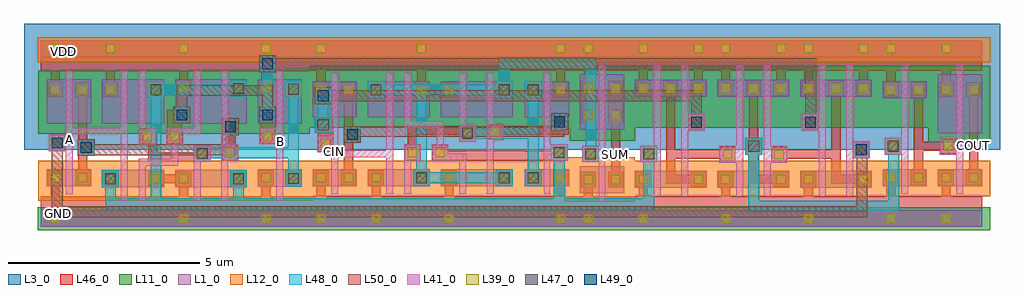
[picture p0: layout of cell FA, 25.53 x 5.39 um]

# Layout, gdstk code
import gdstk
lib = gdstk.Library(unit=1e-6, precision=1e-09)
def R(c, l, rs):  # rectangles x0, y0, x1, y1
    for r in rs: c.add(gdstk.rectangle(r[:2], r[2:], *l))
def A(c, l, x, y, w, h, nx, ny, dx, dy):  # array of equal rectangles
    R(c, l, [(x+i*dx, y+j*dy, x+i*dx+w, y+j*dy+h) for i in range(nx) for j in range(ny)])
L1_0 = (1, 0)
L3_0 = (3, 0)
L11_0 = (11, 0)
L12_0 = (12, 0)
L39_0 = (39, 0)
L41_0 = (41, 0)
L46_0 = (46, 0)
L47_0 = (47, 0)
L48_0 = (48, 0)
L49_0 = (49, 0)
L50_0 = (50, 0)

m1_m2_via_cdns_666782257 = lib.new_cell('M1_M2_via_CDNS_666782257310')
R(m1_m2_via_cdns_666782257, L46_0, [(-0.22,-0.22,0.22,0.22)])
R(m1_m2_via_cdns_666782257, L47_0, [(-0.14,-0.14,0.14,0.14)])
R(m1_m2_via_cdns_666782257, L48_0, [(-0.22,-0.22,0.22,0.22)])

m2_m3_via_cdns_666782257 = lib.new_cell('M2_M3_via_CDNS_666782257311')
R(m2_m3_via_cdns_666782257, L48_0, [(-0.14,-0.14,0.14,0.14)])
R(m2_m3_via_cdns_666782257, L49_0, [(-0.14,-0.14,0.14,0.14)])
R(m2_m3_via_cdns_666782257, L50_0, [(-0.14,-0.14,0.14,0.14)])

c_m2_m3_via_cdns_666782257 = lib.new_cell('M2_M3_via_CDNS_666782257312')
R(c_m2_m3_via_cdns_666782257, L48_0, [(-0.14,-0.14,0.14,0.14)])
R(c_m2_m3_via_cdns_666782257, L49_0, [(-0.14,-0.14,0.14,0.14)])
R(c_m2_m3_via_cdns_666782257, L50_0, [(-0.22,-0.14,0.22,0.14)])

c_m2_m3_via_cdns_666782257_ = lib.new_cell('M2_M3_via_CDNS_666782257313')
R(c_m2_m3_via_cdns_666782257_, L48_0, [(-0.14,-0.22,0.14,0.22)])
R(c_m2_m3_via_cdns_666782257_, L49_0, [(-0.14,-0.14,0.14,0.14)])
R(c_m2_m3_via_cdns_666782257_, L50_0, [(-0.14,-0.22,0.14,0.22)])

c_fa = lib.new_cell('FA')
A(c_fa, L1_0, 3.1, -9.88, 1.88, 0.44, 3, 2, 2.16, 2.38)
R(c_fa, L1_0, [(-12.44,-10.91,12.19,-10.47), (1.66,-10.03,2.82,-9.32), (-10.84,-9.87,-9.21,-9.41), (-8.93,-9.87,-7.05,-9.41), (-6.77,-9.86,-5.61,-9.4), (-12.28,-9.84,-11.12,-9.4), (-5.33,-9.84,-4.17,-9.4), (-3.89,-9.84,-2.26,-9.4), (-1.98,-9.84,-0.1,-9.4), (0.22,-9.84,1.38,-9.4), (9.58,-9.84,10.74,-9.4), (11.02,-9.84,12.18,-9.4), (11.02,-8.46,12.18,-6.91), (1.66,-8.37,2.82,-6.91), (-12.28,-8.21,-11.12,-7.04), (-10.84,-8.21,-9.21,-7.04), (-8.93,-8.21,-7.05,-7.04), (-6.77,-8.21,-5.61,-7.04), (-5.33,-8.04,-4.17,-7.1), (-3.89,-8.04,-2.26,-7.1), (-1.98,-8.04,-0.1,-7.1), (0.22,-8.04,1.38,-7.1), (9.58,-7.54,10.74,-7.1), (-12.44,-6.47,12.19,-6.03)])
R(c_fa, L3_0, [(-12.88,-8.89,12.65,-5.6)])
R(c_fa, L11_0, [(-12.52,-10.99,12.4,-10.39), (10.77,-8.69,12.4,-8.2), (1.39,-8.66,3.11,-6.69), (-12.51,-8.47,-5.4,-6.82), (-5.4,-8.32,12.4,-6.69)])
R(c_fa, L12_0, [(1.27,-10.25,3.1,-9.08), (-12.51,-10.23,-5.32,-9.18), (-5.32,-10.11,12.4,-9.18), (-12.52,-6.6,12.4,-5.95)])
A(c_fa, L39_0, -6.67, -10.81, 0.24, 0.24, 3, 1, 1.44, 0)
A(c_fa, L39_0, 3.2, -10.81, 0.24, 0.24, 4, 1, 2.16, 0)
A(c_fa, L39_0, -5.23, -9.74, 0.24, 0.24, 3, 1, 0.72, 0)
A(c_fa, L39_0, 9.68, -9.74, 0.24, 0.24, 4, 2, 0.72, 2.3)
A(c_fa, L39_0, -12.18, -7.44, 0.24, 0.24, 3, 1, 0.72, 0)
A(c_fa, L39_0, -5.95, -7.44, 0.24, 0.24, 4, 1, 0.72, 0)
A(c_fa, L39_0, 3.2, -7.4, 0.24, 0.24, 9, 1, 0.72, 0)
A(c_fa, L39_0, 1.76, -6.37, 0.24, 0.24, 3, 1, 1.44, 0)
R(c_fa, L39_0, [(-12.18,-10.81,-11.94,-10.57), (-8.83,-10.81,-8.59,-10.57), (-1.88,-10.81,-1.64,-10.57), (1.04,-10.81,1.28,-10.57), (1.76,-10.81,2,-10.57), (11.12,-10.81,11.36,-10.57), (1.76,-9.79,2,-9.55), (2.48,-9.79,2.72,-9.55), (3.2,-9.78,3.44,-9.54), (4.64,-9.78,4.88,-9.54), (5.36,-9.78,5.6,-9.54), (6.8,-9.78,7.04,-9.54), (7.52,-9.78,7.76,-9.54), (8.96,-9.78,9.2,-9.54), (-10.74,-9.77,-10.5,-9.53), (-9.55,-9.77,-9.31,-9.53), (-8.83,-9.77,-8.59,-9.53), (-7.39,-9.77,-7.15,-9.53), (-5.95,-9.76,-5.71,-9.52), (-12.18,-9.74,-11.94,-9.5), (-11.46,-9.74,-11.22,-9.5), (-6.67,-9.74,-6.43,-9.5), (-2.6,-9.74,-2.36,-9.5), (-1.88,-9.74,-1.64,-9.5), (-0.44,-9.74,-0.2,-9.5), (0.32,-9.74,0.56,-9.5), (1.04,-9.74,1.28,-9.5), (5.41,-9.13,5.65,-8.89), (6.75,-9.13,6.99,-8.89), (1.82,-9.12,2.06,-8.88), (3.34,-9.12,3.58,-8.88), (-8.34,-9.11,-8.1,-8.87), (-7.62,-9.08,-7.38,-8.84), (-2.84,-9.08,-2.6,-8.84), (-2.12,-9.08,-1.88,-8.84), (0.99,-9.08,1.23,-8.84), (8.9,-9.01,9.14,-8.77), (9.74,-8.92,9.98,-8.68), (11.18,-8.92,11.42,-8.68), (-5.11,-8.86,-4.87,-8.62), (-12.13,-8.83,-11.89,-8.59), (-9.78,-8.65,-9.54,-8.41), (-9.06,-8.65,-8.82,-8.41), (-6.62,-8.65,-6.38,-8.41), (-1.4,-8.58,-1.16,-8.34), (-0.67,-8.54,-0.43,-8.3), (4.59,-8.29,4.83,-8.05), (7.57,-8.29,7.81,-8.05), (1.76,-8.11,2,-7.87), (2.48,-8.11,2.72,-7.87), (-9.55,-7.44,-9.31,-7.2), (-2.6,-7.44,-2.36,-7.2), (-1.88,-7.44,-1.64,-7.2), (-0.44,-7.44,-0.2,-7.2), (0.32,-7.44,0.56,-7.2), (1.04,-7.44,1.28,-7.2), (-7.39,-7.41,-7.15,-7.17), (1.76,-7.41,2,-7.17), (2.48,-7.41,2.72,-7.17), (-8.83,-7.39,-8.59,-7.15), (-6.67,-7.39,-6.43,-7.15), (-12.18,-6.37,-11.94,-6.13), (-10.74,-6.37,-10.5,-6.13), (-8.82,-6.37,-8.58,-6.13), (-6.67,-6.37,-6.43,-6.13), (-5.23,-6.37,-4.99,-6.13), (-2.6,-6.37,-2.36,-6.13), (1.04,-6.37,1.28,-6.13), (5.36,-6.37,5.6,-6.13), (6.8,-6.37,7.04,-6.13), (7.52,-6.37,7.76,-6.13), (8.96,-6.37,9.2,-6.13), (9.68,-6.37,9.92,-6.13), (11.12,-6.37,11.36,-6.13)])
R(c_fa, L41_0, [(5.31,-9.23,5.75,-8.79), (6.65,-9.23,7.09,-8.79), (1.72,-9.22,2.16,-8.78), (3.24,-9.22,3.68,-8.78), (-8.44,-9.21,-8,-8.77), (-7.72,-9.18,-7.28,-8.74), (-2.94,-9.18,-2.5,-8.74), (-2.22,-9.18,-1.78,-8.74), (0.89,-9.18,1.34,-8.74), (8.8,-9.11,9.24,-8.67), (8.8,-9.11,9.24,-8.67), (9.64,-9.02,10.08,-8.58), (11.08,-9.02,11.52,-8.58), (-5.21,-8.96,-4.77,-8.52), (-12.23,-8.93,-11.79,-8.49), (-9.88,-8.75,-9.44,-8.31), (-9.16,-8.75,-8.72,-8.31), (-6.72,-8.75,-6.28,-8.31), (-1.5,-8.68,-1.06,-8.24), (-0.77,-8.64,-0.33,-8.2), (4.49,-8.39,4.93,-7.95), (7.47,-8.39,7.91,-7.95), (7.47,-8.39,7.91,-7.95)])
A(c_fa, L46_0, -5.31, -9.82, 0.4, 0.4, 3, 1, 0.72, 0)
A(c_fa, L46_0, 9.6, -9.82, 0.4, 0.4, 4, 2, 0.72, 2.3)
A(c_fa, L46_0, -12.26, -7.52, 0.4, 0.4, 3, 1, 0.72, 0)
A(c_fa, L46_0, -6.03, -7.52, 0.4, 0.4, 3, 1, 0.72, 0)
A(c_fa, L46_0, 3.12, -7.48, 0.4, 0.41, 9, 1, 0.72, 0)
R(c_fa, L46_0, [(-12.44,-10.91,12.19,-10.11), (1.68,-9.87,2.08,-9.47), (2.4,-9.87,2.8,-9.47), (3.12,-9.86,3.52,-9.46), (4.56,-9.86,4.96,-9.46), (5.28,-9.86,5.68,-9.46), (6.72,-9.86,7.12,-9.46), (7.44,-9.86,7.84,-9.46), (8.88,-9.86,9.28,-9.46), (-10.82,-9.85,-10.42,-9.45), (-9.63,-9.85,-9.23,-9.45), (-8.91,-9.85,-8.51,-9.45), (-6.03,-9.84,-5.63,-9.44), (-12.26,-9.82,-11.86,-9.42), (-11.54,-9.82,-11.14,-9.42), (-6.75,-9.82,-6.35,-9.42), (-1.96,-9.82,-1.56,-9.42), (0.96,-9.82,1.36,-9.42), (5.33,-9.21,5.73,-8.81), (6.67,-9.21,7.07,-8.81), (3.26,-9.2,3.66,-8.8), (-8.42,-9.19,-8.02,-8.79), (-7.7,-9.16,-7.3,-8.76), (-2.92,-9.16,-2.52,-8.76), (-2.2,-9.16,-1.8,-8.76), (0.91,-9.16,1.31,-8.76), (9.66,-9,10.06,-8.6), (11.1,-9,11.5,-8.6), (-5.19,-8.94,-4.79,-8.02), (-12.21,-8.91,-11.81,-8.51), (-9.86,-8.73,-9.46,-8.33), (-9.14,-8.73,-8.74,-7.84), (-6.7,-8.73,-6.3,-8.2), (-1.48,-8.66,-1.08,-8.26), (-0.75,-8.62,-0.35,-8.22), (1.68,-8.19,2.08,-7.09), (2.4,-8.19,2.8,-7.09), (-2.68,-7.52,-2.28,-7.12), (-1.96,-7.52,-1.56,-7.12), (-0.52,-7.52,-0.12,-7.12), (0.96,-7.52,1.36,-7.12), (-7.47,-7.49,-7.07,-7.09), (-8.91,-7.47,-8.51,-7.07), (-6.75,-7.47,-6.35,-7.07), (-12.44,-6.83,12.19,-6.03)])
R(c_fa, L48_0, [(-4.51,-8.71,-4.07,-8.27), (-5.27,-7.7,-4.83,-7.26), (-5.27,-7.7,-4.83,-7.26), (-5.27,-7.7,-4.83,-7.26), (-5.27,-7.7,-4.83,-7.26), (-5.27,-7.7,-4.83,-7.26), (-5.27,-7.7,-4.83,-7.26), (-5.27,-7.7,-4.83,-7.26), (-5.27,-7.7,-4.83,-7.26), (-5.27,-7.7,-4.83,-7.26), (-5.27,-7.7,-4.83,-7.26), (-5.27,-7.7,-4.83,-7.26), (-5.27,-7.7,-4.83,-7.26), (-5.27,-7.7,-4.83,-7.26), (-6.73,-6.86,-6.29,-6.42)])
R(c_fa, L50_0, [(8.8,-9.11,9.24,-8.67), (-11.47,-9.05,-11.03,-8.61), (-12.23,-8.93,-11.79,-8.49), (-7.7,-8.75,-7.46,-8.31), (-4.51,-8.71,-4.07,-8.27), (-7.7,-8.51,-7.26,-8.07), (4.49,-8.39,4.93,-7.95), (7.47,-8.39,7.91,-7.95), (0.91,-8.38,1.35,-7.94), (-8.97,-8.2,-8.53,-7.76), (-6.73,-8.2,-6.29,-7.76), (-5.27,-7.7,-4.83,-7.26), (-6.73,-6.86,-6.29,-6.42)])
c_fa.add(gdstk.FlexPath([(11.6,-6.68),(11.6,-8.8)], 0.18, ends=(0, 0.09), simple_path=True, layer=41, datatype=0))  # L41_0
c_fa.add(gdstk.FlexPath([(0.8,-6.88),(0.8,-8.96)], 0.18, ends=(0, 0.09), simple_path=True, layer=41, datatype=0))  # L41_0
c_fa.add(gdstk.FlexPath([(-3.31,-6.88),(-3.31,-10.06)], 0.18, ends="flush", simple_path=True, layer=41, datatype=0))  # L41_0
c_fa.add(gdstk.FlexPath([(-2.84,-6.88),(-2.84,-8.23)], 0.18, ends=(0, 0.09), simple_path=True, layer=41, datatype=0))  # L41_0
c_fa.add(gdstk.FlexPath([(-2.84,-10.06),(-2.84,-9.16)], 0.18, ends="flush", simple_path=True, layer=41, datatype=0))  # L41_0
c_fa.add(gdstk.FlexPath([(-1.99,-8.23),(-1.99,-8.74)], 0.18, ends=(0.09, 0), simple_path=True, layer=41, datatype=0))  # L41_0
c_fa.add(gdstk.FlexPath([(-2.84,-8.23),(-1.99,-8.23)], 0.18, ends="extended", simple_path=True, layer=41, datatype=0))  # L41_0
c_fa.add(gdstk.FlexPath([(-1.78,-9.09),(-1.4,-9.09)], 0.18, ends=(0, 0.09), simple_path=True, layer=41, datatype=0))  # L41_0
c_fa.add(gdstk.FlexPath([(-4.75,-6.88),(-4.75,-8.94)], 0.18, ends=(0, 0.09), simple_path=True, layer=41, datatype=0))  # L41_0
c_fa.add(gdstk.FlexPath([(-1.4,-6.88),(-1.4,-8.24)], 0.18, ends="flush", simple_path=True, layer=41, datatype=0))  # L41_0
c_fa.add(gdstk.FlexPath([(-1.4,-9.09),(-1.4,-10.06)], 0.18, ends=(0.09, 0), simple_path=True, layer=41, datatype=0))  # L41_0
c_fa.add(gdstk.FlexPath([(-8.35,-9.21),(-8.35,-10.22)], 0.18, ends="flush", simple_path=True, layer=41, datatype=0))  # L41_0
c_fa.add(gdstk.FlexPath([(0.8,-8.96),(0.8,-10.06)], 0.18, ends=(0.09, 0), simple_path=True, layer=41, datatype=0))  # L41_0
c_fa.add(gdstk.FlexPath([(-11.7,-8.71),(-11.7,-10.06)], 0.18, ends=(0.09, 0), simple_path=True, layer=41, datatype=0))  # L41_0
c_fa.add(gdstk.FlexPath([(6.65,-9.01),(6.56,-9.01)], 0.18, ends="extended", simple_path=True, layer=41, datatype=0))  # L41_0
c_fa.add(gdstk.FlexPath([(-4.75,-8.99),(-3.4,-8.99)], 0.18, ends=(0.09, 0), simple_path=True, layer=41, datatype=0))  # L41_0
c_fa.add(gdstk.FlexPath([(-4.75,-8.94),(-4.75,-10.06)], 0.18, ends=(0.09, 0), simple_path=True, layer=41, datatype=0))  # L41_0
c_fa.add(gdstk.FlexPath([(8.8,-8.89),(8.72,-8.89)], 0.18, ends="extended", simple_path=True, layer=41, datatype=0))  # L41_0
c_fa.add(gdstk.FlexPath([(10.16,-8.8),(10.16,-10.06)], 0.18, ends=(0.09, 0), simple_path=True, layer=41, datatype=0))  # L41_0
c_fa.add(gdstk.FlexPath([(11.52,-8.8),(11.6,-8.8)], 0.18, ends="extended", simple_path=True, layer=41, datatype=0))  # L41_0
c_fa.add(gdstk.FlexPath([(4.49,-8.17),(4.4,-8.17)], 0.18, ends="extended", simple_path=True, layer=41, datatype=0))  # L41_0
c_fa.add(gdstk.FlexPath([(11.6,-8.8),(11.6,-10.06)], 0.18, ends=(0.09, 0), simple_path=True, layer=41, datatype=0))  # L41_0
c_fa.add(gdstk.FlexPath([(2.24,-9.01),(2.24,-10.25)], 0.18, ends=(0.09, 0), simple_path=True, layer=41, datatype=0))  # L41_0
c_fa.add(gdstk.FlexPath([(4.4,-8.17),(4.4,-10.1)], 0.18, ends=(0.09, 0), simple_path=True, layer=41, datatype=0))  # L41_0
c_fa.add(gdstk.FlexPath([(6.56,-9.01),(6.56,-10.1)], 0.18, ends=(0.09, 0), simple_path=True, layer=41, datatype=0))  # L41_0
c_fa.add(gdstk.FlexPath([(2.16,-9.01),(2.24,-9.01)], 0.18, ends="extended", simple_path=True, layer=41, datatype=0))  # L41_0
c_fa.add(gdstk.FlexPath([(8,-8.17),(8,-10.1)], 0.18, ends=(0.09, 0), simple_path=True, layer=41, datatype=0))  # L41_0
c_fa.add(gdstk.FlexPath([(8.72,-6.69),(8.72,-8.89)], 0.18, ends=(0, 0.09), simple_path=True, layer=41, datatype=0))  # L41_0
c_fa.add(gdstk.FlexPath([(8,-6.69),(8,-8.17)], 0.18, ends=(0, 0.09), simple_path=True, layer=41, datatype=0))  # L41_0
c_fa.add(gdstk.FlexPath([(5.84,-6.69),(5.84,-9.01)], 0.18, ends=(0, 0.09), simple_path=True, layer=41, datatype=0))  # L41_0
c_fa.add(gdstk.FlexPath([(6.56,-6.69),(6.56,-9.01)], 0.18, ends=(0, 0.09), simple_path=True, layer=41, datatype=0))  # L41_0
c_fa.add(gdstk.FlexPath([(8,-8.17),(7.91,-8.17)], 0.18, ends="extended", simple_path=True, layer=41, datatype=0))  # L41_0
c_fa.add(gdstk.FlexPath([(8.72,-8.89),(8.72,-10.1)], 0.18, ends=(0.09, 0), simple_path=True, layer=41, datatype=0))  # L41_0
c_fa.add(gdstk.FlexPath([(-6.19,-8.42),(-6.36,-8.42)], 0.18, ends=(0.09, 0), simple_path=True, layer=41, datatype=0))  # L41_0
c_fa.add(gdstk.FlexPath([(-11.7,-8.71),(-11.79,-8.71)], 0.18, ends=(0.09, 0), simple_path=True, layer=41, datatype=0))  # L41_0
c_fa.add(gdstk.FlexPath([(5.84,-9.01),(5.84,-10.1)], 0.18, ends=(0.09, 0), simple_path=True, layer=41, datatype=0))  # L41_0
c_fa.add(gdstk.FlexPath([(5.75,-9.01),(5.84,-9.01)], 0.18, ends="extended", simple_path=True, layer=41, datatype=0))  # L41_0
c_fa.add(gdstk.FlexPath([(-11.7,-8.4),(-10.35,-8.4)], 0.18, ends="flush", simple_path=True, layer=41, datatype=0))  # L41_0
c_fa.add(gdstk.FlexPath([(-0.68,-6.88),(-0.68,-10.06)], 0.18, ends="flush", simple_path=True, layer=41, datatype=0))  # L41_0
c_fa.add(gdstk.FlexPath([(4.4,-6.69),(4.4,-8.17)], 0.18, ends=(0, 0.09), simple_path=True, layer=41, datatype=0))  # L41_0
c_fa.add(gdstk.FlexPath([(3.68,-6.69),(3.68,-10.1)], 0.18, ends="flush", simple_path=True, layer=41, datatype=0))  # L41_0
c_fa.add(gdstk.FlexPath([(-6.19,-8.42),(-6.19,-10.23)], 0.18, ends=(0.09, 0), simple_path=True, layer=41, datatype=0))  # L41_0
c_fa.add(gdstk.FlexPath([(-9.88,-9.22),(-9.03,-9.22)], 0.18, ends="flush", simple_path=True, layer=41, datatype=0))  # L41_0
c_fa.add(gdstk.FlexPath([(-8.94,-8.31),(-8.94,-9.31)], 0.18, ends="flush", simple_path=True, layer=41, datatype=0))  # L41_0
c_fa.add(gdstk.FlexPath([(-9.79,-10.22),(-9.79,-9.19)], 0.18, ends="flush", simple_path=True, layer=41, datatype=0))  # L41_0
c_fa.add(gdstk.FlexPath([(-9.79,-6.82),(-9.79,-8.31)], 0.18, ends="flush", simple_path=True, layer=41, datatype=0))  # L41_0
c_fa.add(gdstk.FlexPath([(-10.26,-6.82),(-10.26,-10.22)], 0.18, ends="flush", simple_path=True, layer=41, datatype=0))  # L41_0
c_fa.add(gdstk.FlexPath([(-11.7,-6.82),(-11.7,-8.4)], 0.18, ends="flush", simple_path=True, layer=41, datatype=0))  # L41_0
c_fa.add(gdstk.FlexPath([(10.08,-8.8),(10.16,-8.8)], 0.18, ends="extended", simple_path=True, layer=41, datatype=0))  # L41_0
c_fa.add(gdstk.FlexPath([(10.16,-6.68),(10.16,-8.8)], 0.18, ends=(0, 0.09), simple_path=True, layer=41, datatype=0))  # L41_0
c_fa.add(gdstk.FlexPath([(2.24,-6.69),(2.24,-9.01)], 0.18, ends=(0, 0.09), simple_path=True, layer=41, datatype=0))  # L41_0
c_fa.add(gdstk.FlexPath([(-4.75,-8.94),(-4.84,-8.94)], 0.18, ends=(0.09, 0), simple_path=True, layer=41, datatype=0))  # L41_0
c_fa.add(gdstk.FlexPath([(0.8,-8.96),(0.89,-8.96)], 0.18, ends=(0.09, 0), simple_path=True, layer=41, datatype=0))  # L41_0
c_fa.add(gdstk.FlexPath([(-8.35,-6.82),(-8.35,-8.4)], 0.18, ends=(0, 0.09), simple_path=True, layer=41, datatype=0))  # L41_0
c_fa.add(gdstk.FlexPath([(-8.35,-8.4),(-8.85,-8.4)], 0.18, ends=(0.09, 0), simple_path=True, layer=41, datatype=0))  # L41_0
c_fa.add(gdstk.FlexPath([(-6.19,-6.82),(-6.19,-8.42)], 0.18, ends=(0, 0.09), simple_path=True, layer=41, datatype=0))  # L41_0
c_fa.add(gdstk.FlexPath([(-7.63,-6.82),(-7.63,-10.22)], 0.18, ends="flush", simple_path=True, layer=41, datatype=0))  # L41_0
c_fa.add(gdstk.FlexPath([(-11.7,-8.4),(-11.7,-8.71)], 0.18, ends=(0, 0.09), simple_path=True, layer=41, datatype=0))  # L41_0
c_fa.add(gdstk.FlexPath([(10.52,-8.8),(10.52,-9.74)], 0.24, ends=(0.12, 0), simple_path=True, layer=46, datatype=0))  # L46_0
c_fa.add(gdstk.FlexPath([(10.52,-8.8),(10.4,-8.8)], 0.24, ends=(0.12, 0), simple_path=True, layer=46, datatype=0))  # L46_0
c_fa.add(gdstk.FlexPath([(11.42,-8.8),(10.52,-8.8)], 0.24, ends=(0, 0.12), simple_path=True, layer=46, datatype=0))  # L46_0
c_fa.add(gdstk.FlexPath([(11.96,-7.2),(11.96,-9.74)], 0.24, ends="flush", simple_path=True, layer=46, datatype=0))  # L46_0
c_fa.add(gdstk.FlexPath([(11.24,-9.5),(11.24,-10.81)], 0.24, ends="flush", simple_path=True, layer=46, datatype=0))  # L46_0
c_fa.add(gdstk.FlexPath([(11.24,-7.44),(11.24,-6.13)], 0.24, ends="flush", simple_path=True, layer=46, datatype=0))  # L46_0
c_fa.add(gdstk.FlexPath([(-6.55,-7.44),(-6.55,-6.13)], 0.24, ends="flush", simple_path=True, layer=46, datatype=0))  # L46_0
c_fa.add(gdstk.FlexPath([(1.16,-9.5),(1.16,-10.81)], 0.24, ends="flush", simple_path=True, layer=46, datatype=0))  # L46_0
c_fa.add(gdstk.FlexPath([(-5.11,-9.5),(-5.11,-10.81)], 0.24, ends="flush", simple_path=True, layer=46, datatype=0))  # L46_0
c_fa.add(gdstk.FlexPath([(-5.11,-7.44),(-5.11,-6.13)], 0.24, ends="flush", simple_path=True, layer=46, datatype=0))  # L46_0
c_fa.add(gdstk.FlexPath([(-12.06,-9.5),(-12.06,-10.81)], 0.24, ends="flush", simple_path=True, layer=46, datatype=0))  # L46_0
c_fa.add(gdstk.FlexPath([(-8.3,-8.87),(-8.3,-9.04)], 0.24, ends=(0, 0.12), simple_path=True, layer=46, datatype=0))  # L46_0
c_fa.add(gdstk.FlexPath([(-12.06,-7.44),(-12.06,-6.13)], 0.24, ends="flush", simple_path=True, layer=46, datatype=0))  # L46_0
c_fa.add(gdstk.FlexPath([(-8.71,-9.53),(-8.71,-10.81)], 0.24, ends="flush", simple_path=True, layer=46, datatype=0))  # L46_0
c_fa.add(gdstk.FlexPath([(-7.5,-8.93),(-7.5,-8.45)], 0.24, ends="flush", simple_path=True, layer=46, datatype=0))  # L46_0
c_fa.add(gdstk.FlexPath([(-1.76,-9.5),(-1.76,-10.81)], 0.24, ends="flush", simple_path=True, layer=46, datatype=0))  # L46_0
c_fa.add(gdstk.FlexPath([(9.8,-9.5),(9.8,-10.81)], 0.24, ends="flush", simple_path=True, layer=46, datatype=0))  # L46_0
c_fa.add(gdstk.FlexPath([(9.8,-7.44),(9.8,-6.13)], 0.24, ends="flush", simple_path=True, layer=46, datatype=0))  # L46_0
c_fa.add(gdstk.FlexPath([(-0.67,-8.38),(1.25,-8.38)], 0.24, ends=(0, 0.12), simple_path=True, layer=46, datatype=0))  # L46_0
c_fa.add(gdstk.FlexPath([(-2.48,-7.32),(-2.48,-6.13)], 0.24, ends=(0.12, 0), simple_path=True, layer=46, datatype=0))  # L46_0
c_fa.add(gdstk.FlexPath([(9.08,-7.4),(9.08,-6.13)], 0.24, ends="flush", simple_path=True, layer=46, datatype=0))  # L46_0
c_fa.add(gdstk.FlexPath([(8.36,-9.66),(9.2,-9.66)], 0.24, ends=(0.12, 0), simple_path=True, layer=46, datatype=0))  # L46_0
c_fa.add(gdstk.FlexPath([(8.36,-9.01),(8.36,-9.66)], 0.24, ends="extended", simple_path=True, layer=46, datatype=0))  # L46_0
c_fa.add(gdstk.FlexPath([(-10.62,-7.44),(-10.62,-6.13)], 0.24, ends="flush", simple_path=True, layer=46, datatype=0))  # L46_0
c_fa.add(gdstk.FlexPath([(8.36,-7.16),(8.36,-9.01)], 0.24, ends=(0, 0.12), simple_path=True, layer=46, datatype=0))  # L46_0
c_fa.add(gdstk.FlexPath([(7.64,-9.54),(7.64,-10.81)], 0.24, ends="flush", simple_path=True, layer=46, datatype=0))  # L46_0
c_fa.add(gdstk.FlexPath([(7.64,-7.4),(7.64,-6.13)], 0.24, ends="flush", simple_path=True, layer=46, datatype=0))  # L46_0
c_fa.add(gdstk.FlexPath([(6.92,-7.4),(6.92,-6.13)], 0.24, ends="flush", simple_path=True, layer=46, datatype=0))  # L46_0
c_fa.add(gdstk.FlexPath([(5.48,-9.54),(5.48,-10.63)], 0.24, ends="flush", simple_path=True, layer=46, datatype=0))  # L46_0
c_fa.add(gdstk.FlexPath([(6.2,-9.66),(7.04,-9.66)], 0.24, ends=(0.12, 0), simple_path=True, layer=46, datatype=0))  # L46_0
c_fa.add(gdstk.FlexPath([(6.2,-7.16),(6.2,-9.66)], 0.24, ends=(0, 0.12), simple_path=True, layer=46, datatype=0))  # L46_0
c_fa.add(gdstk.FlexPath([(5.48,-7.4),(5.48,-6.13)], 0.24, ends="flush", simple_path=True, layer=46, datatype=0))  # L46_0
c_fa.add(gdstk.FlexPath([(-1.64,-7.32),(-2.48,-7.32)], 0.24, ends=(0, 0.12), simple_path=True, layer=46, datatype=0))  # L46_0
c_fa.add(gdstk.FlexPath([(-2.48,-7.32),(-2.68,-7.32)], 0.24, ends=(0.12, 0), simple_path=True, layer=46, datatype=0))  # L46_0
c_fa.add(gdstk.FlexPath([(-1.5,-8.38),(-1.5,-8.36)], 0.24, ends=(0.12, 0), simple_path=True, layer=46, datatype=0))  # L46_0
c_fa.add(gdstk.FlexPath([(-2.48,-7.44),(-2.48,-7.32)], 0.24, ends=(0, 0.12), simple_path=True, layer=46, datatype=0))  # L46_0
c_fa.add(gdstk.FlexPath([(-3.67,-9.5),(-3.67,-10.81)], 0.24, ends="flush", simple_path=True, layer=46, datatype=0))  # L46_0
c_fa.add(gdstk.FlexPath([(-1.48,-8.38),(-1.5,-8.38)], 0.24, ends="extended", simple_path=True, layer=46, datatype=0))  # L46_0
c_fa.add(gdstk.FlexPath([(-9.51,-9.09),(-8.3,-9.09)], 0.24, ends="extended", simple_path=True, layer=46, datatype=0))  # L46_0
c_fa.add(gdstk.FlexPath([(-11.34,-7.2),(-11.34,-9.74)], 0.24, ends="flush", simple_path=True, layer=46, datatype=0))  # L46_0
c_fa.add(gdstk.FlexPath([(-8.7,-7.44),(-8.7,-6.13)], 0.24, ends="flush", simple_path=True, layer=46, datatype=0))  # L46_0
c_fa.add(gdstk.FlexPath([(-9.55,-9.65),(-8.59,-9.65)], 0.24, ends="flush", simple_path=True, layer=46, datatype=0))  # L46_0
c_fa.add(gdstk.FlexPath([(5.65,-9.01),(4.04,-9.01)], 0.24, ends=(0, 0.12), simple_path=True, layer=46, datatype=0))  # L46_0
c_fa.add(gdstk.FlexPath([(4.04,-9.01),(3.92,-9.01)], 0.24, ends=(0.12, 0), simple_path=True, layer=46, datatype=0))  # L46_0
c_fa.add(gdstk.FlexPath([(4.04,-9.66),(4.88,-9.66)], 0.24, ends=(0.12, 0), simple_path=True, layer=46, datatype=0))  # L46_0
c_fa.add(gdstk.FlexPath([(4.04,-9.01),(4.04,-9.66)], 0.24, ends="extended", simple_path=True, layer=46, datatype=0))  # L46_0
c_fa.add(gdstk.FlexPath([(4.04,-7.16),(4.04,-9.01)], 0.24, ends=(0, 0.12), simple_path=True, layer=46, datatype=0))  # L46_0
c_fa.add(gdstk.FlexPath([(3.32,-7.4),(3.32,-6.13)], 0.24, ends="flush", simple_path=True, layer=46, datatype=0))  # L46_0
c_fa.add(gdstk.FlexPath([(1.25,-8.38),(1.25,-8.1)], 0.24, ends=(0.12, 0), simple_path=True, layer=46, datatype=0))  # L46_0
c_fa.add(gdstk.FlexPath([(3.32,-9.54),(3.32,-10.63)], 0.24, ends="flush", simple_path=True, layer=46, datatype=0))  # L46_0
c_fa.add(gdstk.FlexPath([(6.76,-9.01),(8.36,-9.01)], 0.24, ends=(0, 0.12), simple_path=True, layer=46, datatype=0))  # L46_0
c_fa.add(gdstk.FlexPath([(8.36,-9.01),(8.48,-9.01)], 0.24, ends=(0.12, 0), simple_path=True, layer=46, datatype=0))  # L46_0
c_fa.add(gdstk.FlexPath([(-9.51,-8.33),(-9.51,-9.09)], 0.24, ends=(0, 0.12), simple_path=True, layer=46, datatype=0))  # L46_0
c_fa.add(gdstk.FlexPath([(10.52,-7.2),(10.52,-8.8)], 0.24, ends=(0, 0.12), simple_path=True, layer=46, datatype=0))  # L46_0
c_fa.add(gdstk.FlexPath([(4.76,-7.4),(4.76,-6.13)], 0.24, ends="flush", simple_path=True, layer=46, datatype=0))  # L46_0
c_fa.add(gdstk.FlexPath([(-4.39,-7.2),(-4.39,-9.74)], 0.24, ends="flush", simple_path=True, layer=46, datatype=0))  # L46_0
c_fa.add(gdstk.FlexPath([(1.88,-7.41),(1.88,-6.13)], 0.24, ends="flush", simple_path=True, layer=46, datatype=0))  # L46_0
c_fa.add(gdstk.FlexPath([(1.88,-9.55),(1.88,-10.81)], 0.24, ends="flush", simple_path=True, layer=46, datatype=0))  # L46_0
c_fa.add(gdstk.FlexPath([(2.6,-7.87),(2.6,-9.79)], 0.24, ends="flush", simple_path=True, layer=46, datatype=0))  # L46_0
c_fa.add(gdstk.FlexPath([(-6.55,-9.5),(-6.55,-10.81)], 0.24, ends="flush", simple_path=True, layer=46, datatype=0))  # L46_0
c_fa.add(gdstk.FlexPath([(-2.72,-9.08),(-2.72,-8.38)], 0.24, ends=(0, 0.12), simple_path=True, layer=46, datatype=0))  # L46_0
c_fa.add(gdstk.FlexPath([(1.16,-7.44),(1.16,-6.13)], 0.24, ends="flush", simple_path=True, layer=46, datatype=0))  # L46_0
c_fa.add(gdstk.FlexPath([(-2.72,-8.38),(-1.5,-8.38)], 0.24, ends="extended", simple_path=True, layer=46, datatype=0))  # L46_0
c_fa.add(gdstk.FlexPath([(-2.12,-9.04),(1.24,-9.04)], 0.24, ends="flush", simple_path=True, layer=46, datatype=0))  # L46_0
c_fa.add(gdstk.FlexPath([(0.44,-9.62),(0.44,-9.76)], 0.28, ends="flush", simple_path=True, layer=48, datatype=0))  # L48_0
c_fa.add(gdstk.FlexPath([(0.44,-7.32),(0.44,-9.62)], 0.28, ends="flush", simple_path=True, layer=48, datatype=0))  # L48_0
c_fa.add(gdstk.FlexPath([(6.21,-10.36),(9.87,-10.36)], 0.28, ends="extended", simple_path=True, layer=48, datatype=0))  # L48_0
c_fa.add(gdstk.FlexPath([(1.95,-6.63),(1.95,-9.14)], 0.28, ends=(0.14, 0), simple_path=True, layer=48, datatype=0))  # L48_0
c_fa.add(gdstk.FlexPath([(-8.23,-8.97),(-5.83,-8.97)], 0.28, ends=(0, 0.14), simple_path=True, layer=48, datatype=0))  # L48_0
c_fa.add(gdstk.FlexPath([(9.87,-10.36),(9.87,-8.66)], 0.28, ends=(0.14, 0), simple_path=True, layer=48, datatype=0))  # L48_0
c_fa.add(gdstk.FlexPath([(6.21,-8.8),(6.21,-10.36)], 0.28, ends=(0, 0.14), simple_path=True, layer=48, datatype=0))  # L48_0
c_fa.add(gdstk.FlexPath([(1.12,-10.3),(-7.27,-10.3)], 0.28, ends="extended", simple_path=True, layer=48, datatype=0))  # L48_0
c_fa.add(gdstk.FlexPath([(-5.83,-8.97),(-5.83,-9.75)], 0.28, ends=(0.14, 0), simple_path=True, layer=48, datatype=0))  # L48_0
c_fa.add(gdstk.FlexPath([(3.46,-9),(3.46,-10.3)], 0.28, ends=(0, 0.14), simple_path=True, layer=48, datatype=0))  # L48_0
c_fa.add(gdstk.FlexPath([(3.46,-10.3),(1.26,-10.3)], 0.28, ends=(0.14, 0), simple_path=True, layer=48, datatype=0))  # L48_0
c_fa.add(gdstk.FlexPath([(-6.51,-8),(-6.51,-6.64)], 0.28, ends="flush", simple_path=True, layer=48, datatype=0))  # L48_0
c_fa.add(gdstk.FlexPath([(-5.83,-7.31),(-5.83,-8.97)], 0.28, ends=(0, 0.14), simple_path=True, layer=48, datatype=0))  # L48_0
c_fa.add(gdstk.FlexPath([(-10.62,-9.65),(-10.62,-10.3)], 0.28, ends=(0, 0.14), simple_path=True, layer=48, datatype=0))  # L48_0
c_fa.add(gdstk.FlexPath([(-10.62,-10.3),(-7.41,-10.3)], 0.28, ends=(0.14, 0), simple_path=True, layer=48, datatype=0))  # L48_0
c_fa.add(gdstk.FlexPath([(-9.43,-7.32),(-9.43,-10.16)], 0.28, ends=(0.14, 0), simple_path=True, layer=48, datatype=0))  # L48_0
c_fa.add(gdstk.FlexPath([(-5.05,-8.24),(-5.05,-7.48)], 0.28, ends="flush", simple_path=True, layer=48, datatype=0))  # L48_0
c_fa.add(gdstk.FlexPath([(-5.05,-7.48),(-5.05,-7.26)], 0.28, ends="flush", simple_path=True, layer=48, datatype=0))  # L48_0
c_fa.add(gdstk.FlexPath([(-2.48,-9.62),(-2.48,-7.32)], 0.28, ends="extended", simple_path=True, layer=48, datatype=0))  # L48_0
c_fa.add(gdstk.FlexPath([(-2.48,-7.32),(-2.48,-7.2)], 0.28, ends=(0.14, 0), simple_path=True, layer=48, datatype=0))  # L48_0
c_fa.add(gdstk.FlexPath([(-3.67,-7.32),(-2.48,-7.32)], 0.28, ends=(0, 0.14), simple_path=True, layer=48, datatype=0))  # L48_0
c_fa.add(gdstk.FlexPath([(-0.32,-7.32),(-0.32,-6.63)], 0.28, ends="extended", simple_path=True, layer=48, datatype=0))  # L48_0
c_fa.add(gdstk.FlexPath([(-2.48,-7.32),(-0.32,-7.32)], 0.28, ends="extended", simple_path=True, layer=48, datatype=0))  # L48_0
c_fa.add(gdstk.FlexPath([(-0.32,-7.32),(-0.19,-7.32)], 0.28, ends=(0.14, 0), simple_path=True, layer=48, datatype=0))  # L48_0
c_fa.add(gdstk.FlexPath([(-7.27,-10.3),(-7.27,-9.65)], 0.28, ends="extended", simple_path=True, layer=48, datatype=0))  # L48_0
c_fa.add(gdstk.FlexPath([(1.12,-8.96),(1.12,-10.3)], 0.28, ends=(0, 0.14), simple_path=True, layer=48, datatype=0))  # L48_0
c_fa.add(gdstk.FlexPath([(-1.28,-8.46),(0.29,-8.46)], 0.28, ends="extended", simple_path=True, layer=48, datatype=0))  # L48_0
c_fa.add(gdstk.FlexPath([(-2.48,-9.62),(-0.32,-9.62)], 0.28, ends="extended", simple_path=True, layer=48, datatype=0))  # L48_0
c_fa.add(gdstk.FlexPath([(-0.32,-9.62),(-0.18,-9.62)], 0.28, ends=(0.14, 0), simple_path=True, layer=48, datatype=0))  # L48_0
c_fa.add(gdstk.FlexPath([(-0.32,-6.63),(1.95,-6.63)], 0.28, ends="extended", simple_path=True, layer=48, datatype=0))  # L48_0
c_fa.add(gdstk.FlexPath([(-9.43,-7.32),(-7.13,-7.32)], 0.28, ends=(0.14, 0), simple_path=True, layer=48, datatype=0))  # L48_0
c_fa.add(gdstk.FlexPath([(-7.48,-8.29),(-7.48,-8.89)], 0.28, ends=(0, 0.14), simple_path=True, layer=50, datatype=0))  # L50_0
c_fa.add(gdstk.FlexPath([(-11.25,-8.83),(-11.25,-9.05)], 0.28, ends="flush", simple_path=True, layer=50, datatype=0))  # L50_0
c_fa.add(gdstk.FlexPath([(-7.48,-8.89),(-11.14,-8.89)], 0.28, ends=(0.14, 0), simple_path=True, layer=50, datatype=0))  # L50_0
c_fa.add(gdstk.FlexPath([(-6.51,-7.34),(-8.75,-7.34)], 0.28, ends="extended", simple_path=True, layer=50, datatype=0))  # L50_0
c_fa.add(gdstk.FlexPath([(4.71,-8.17),(4.71,-7.48)], 0.28, ends=(0, 0.14), simple_path=True, layer=50, datatype=0))  # L50_0
c_fa.add(gdstk.FlexPath([(-6.51,-6.64),(7.7,-6.64)], 0.28, ends=(0, 0.14), simple_path=True, layer=50, datatype=0))  # L50_0
c_fa.add(gdstk.FlexPath([(7.7,-6.64),(7.7,-8.31)], 0.28, ends=(0.14, 0), simple_path=True, layer=50, datatype=0))  # L50_0
c_fa.add(gdstk.FlexPath([(-8.75,-7.34),(-8.75,-7.9)], 0.28, ends=(0.14, 0), simple_path=True, layer=50, datatype=0))  # L50_0
c_fa.add(gdstk.FlexPath([(-5.05,-7.48),(4.71,-7.48)], 0.28, ends=(0, 0.14), simple_path=True, layer=50, datatype=0))  # L50_0
c_fa.add(gdstk.FlexPath([(4.71,-7.48),(4.71,-7.34)], 0.28, ends=(0.14, 0), simple_path=True, layer=50, datatype=0))  # L50_0
c_fa.add(gdstk.FlexPath([(9.04,-9.01),(9.04,-10.51)], 0.28, ends=(0, 0.14), simple_path=True, layer=50, datatype=0))  # L50_0
c_fa.add(gdstk.FlexPath([(9.04,-10.51),(-12.01,-10.51)], 0.28, ends="extended", simple_path=True, layer=50, datatype=0))  # L50_0
c_fa.add(gdstk.FlexPath([(-12.01,-10.51),(-12.01,-8.72)], 0.28, ends=(0.14, 0), simple_path=True, layer=50, datatype=0))  # L50_0
c_fa.add(gdstk.FlexPath([(-4.17,-8.41),(1.11,-8.41)], 0.28, ends=(0, 0.14), simple_path=True, layer=50, datatype=0))  # L50_0
c_fa.add(gdstk.FlexPath([(1.11,-8.41),(1.11,-8.09)], 0.28, ends="extended", simple_path=True, layer=50, datatype=0))  # L50_0
c_fa.add(gdstk.FlexPath([(-6.51,-7.98),(-6.51,-7.34)], 0.28, ends=(0, 0.14), simple_path=True, layer=50, datatype=0))  # L50_0
c_fa.add(gdstk.Reference(m1_m2_via_cdns_666782257, (6.21,-8.8)))
c_fa.add(gdstk.Reference(m1_m2_via_cdns_666782257, (9.86,-8.8)))
c_fa.add(gdstk.Reference(m1_m2_via_cdns_666782257, (-12.01,-8.71)))
c_fa.add(gdstk.Reference(m1_m2_via_cdns_666782257, (9.02,-8.89)))
c_fa.add(gdstk.Reference(m1_m2_via_cdns_666782257, (7.69,-8.17)))
c_fa.add(gdstk.Reference(m1_m2_via_cdns_666782257, (-6.51,-7.98)))
c_fa.add(gdstk.Reference(m1_m2_via_cdns_666782257, (-9.43,-7.32)))
c_fa.add(gdstk.Reference(m1_m2_via_cdns_666782257, (-3.67,-7.32)))
c_fa.add(gdstk.Reference(m1_m2_via_cdns_666782257, (1.13,-8.16)))
c_fa.add(gdstk.Reference(m1_m2_via_cdns_666782257, (-0.32,-9.62)))
c_fa.add(gdstk.Reference(m1_m2_via_cdns_666782257, (0.44,-9.62)))
c_fa.add(gdstk.Reference(m1_m2_via_cdns_666782257, (-1.28,-8.46)))
c_fa.add(gdstk.Reference(m1_m2_via_cdns_666782257, (-7.27,-9.65)))
c_fa.add(gdstk.Reference(m1_m2_via_cdns_666782257, (-10.62,-9.65)))
c_fa.add(gdstk.Reference(m1_m2_via_cdns_666782257, (-5.83,-7.31)))
c_fa.add(gdstk.Reference(m1_m2_via_cdns_666782257, (-11.25,-8.83)))
c_fa.add(gdstk.Reference(m1_m2_via_cdns_666782257, (-8.22,-8.99)))
c_fa.add(gdstk.Reference(m1_m2_via_cdns_666782257, (1.13,-8.16)))
c_fa.add(gdstk.Reference(m1_m2_via_cdns_666782257, (-4.29,-8.49)))
c_fa.add(gdstk.Reference(m1_m2_via_cdns_666782257, (-7.27,-7.29)))
c_fa.add(gdstk.Reference(m1_m2_via_cdns_666782257, (-8.75,-7.98)))
c_fa.add(gdstk.Reference(m1_m2_via_cdns_666782257, (-7.48,-8.29)))
c_fa.add(gdstk.Reference(m1_m2_via_cdns_666782257, (-5.83,-9.64)))
c_fa.add(gdstk.Reference(m1_m2_via_cdns_666782257, (0.44,-7.32)))
c_fa.add(gdstk.Reference(m1_m2_via_cdns_666782257, (1.12,-8.96)))
c_fa.add(gdstk.Reference(m1_m2_via_cdns_666782257, (-5.05,-8.24)))
c_fa.add(gdstk.Reference(m1_m2_via_cdns_666782257, (4.71,-8.17)))
c_fa.add(gdstk.Reference(m1_m2_via_cdns_666782257, (-0.32,-7.32)))
c_fa.add(gdstk.Reference(m1_m2_via_cdns_666782257, (-2.48,-9.62)))
c_fa.add(gdstk.Reference(m1_m2_via_cdns_666782257, (3.46,-9)))
c_fa.add(gdstk.Reference(m1_m2_via_cdns_666782257, (1.94,-9)))
c_fa.add(gdstk.Reference(m2_m3_via_cdns_666782257, (-12.01,-8.71)))
c_fa.add(gdstk.Reference(m2_m3_via_cdns_666782257, (-6.51,-6.64)))
c_fa.add(gdstk.Reference(m2_m3_via_cdns_666782257, (-11.25,-8.83)))
c_fa.add(gdstk.Reference(m2_m3_via_cdns_666782257, (-4.29,-8.49)))
c_fa.add(gdstk.Reference(m2_m3_via_cdns_666782257, (9.02,-8.89)))
c_fa.add(gdstk.Reference(m2_m3_via_cdns_666782257, (7.69,-8.17)))
c_fa.add(gdstk.Reference(m2_m3_via_cdns_666782257, (-8.75,-7.98)))
c_fa.add(gdstk.Reference(m2_m3_via_cdns_666782257, (4.71,-8.17)))
c_fa.add(gdstk.Reference(m2_m3_via_cdns_666782257, (-5.05,-7.48)))
c_fa.add(gdstk.Reference(m2_m3_via_cdns_666782257, (1.13,-8.16)))
c_fa.add(gdstk.Reference(c_m2_m3_via_cdns_666782257, (-6.51,-7.98)))
c_fa.add(gdstk.Reference(c_m2_m3_via_cdns_666782257_, (-7.48,-8.29)))
c_fa.add(gdstk.Label('A', (-11.69,-8.62), layer=100, texttype=0))
c_fa.add(gdstk.Label('B', (-6.16,-8.68), layer=100, texttype=0))
c_fa.add(gdstk.Label('CIN', (-4.76,-8.94), layer=100, texttype=0))
c_fa.add(gdstk.Label('COUT', (11.95,-8.78), layer=101, texttype=0))
c_fa.add(gdstk.Label('VDD', (-11.85,-6.32), layer=101, texttype=0))
c_fa.add(gdstk.Label('GND', (-11.99,-10.57), layer=101, texttype=0))
c_fa.add(gdstk.Label('SUM', (2.6,-9.01), layer=101, texttype=0))

lib.write_gds('FA.gds')
